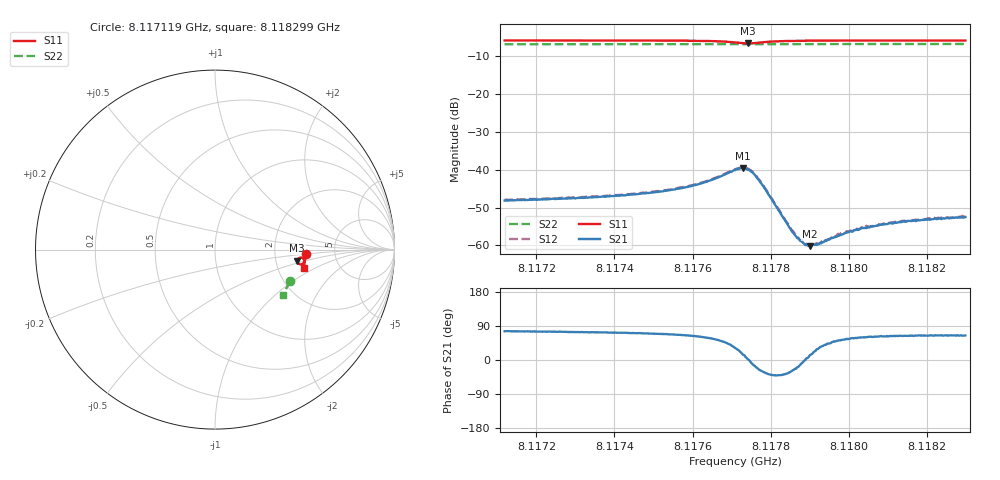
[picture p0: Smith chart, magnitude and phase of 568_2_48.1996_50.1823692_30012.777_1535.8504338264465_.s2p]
#  HZ  S  RI  R  50.00
! Rohde & Schwarz Vector Network Analyzer
! Rohde-Schwarz,ZNB20-2Port,1311601062101988,3.16
! Created: UTC 3/20/2024, 12:01:34 PM
! freq[Hz]  re:S11  im:S11  re:S21  im:S21  re:S12  im:S12  re:S22  im:S22
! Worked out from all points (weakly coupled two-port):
!   401 points, 8.117119 GHz to 8.118299 GHz, reference 50 ohm
!   highest |S21| = -39.55 dB at 8.11773 GHz (marker M1); lowest = -60.2 dB at 8.117901 GHz (marker M2)
!   lowest |S11| = -6.7 dB at 8.117741 GHz (marker M3), VSWR 2.72, Z = 132 - j20.8 ohm
!   |S11| at or under -10 dB: nowhere
!   |S22| runs from -6.9 to -6.8 dB; largest |S21 - S12| = 0.00043
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8.1171186e9  0.506 -0.0246  0.000957 0.0038  0.000981 0.00386  0.4158 -0.1763
8.1173164e9  0.5044 -0.0409  0.00119 0.00409  0.00129 0.00415  0.4107 -0.1892
8.1174256e9  0.503 -0.0503  0.00143 0.00437  0.00152 0.00442  0.4077 -0.1964
8.1175141e9  0.5011 -0.0591  0.00183 0.00478  0.00193 0.00483  0.4053 -0.2019
8.1176174e9  0.4953 -0.0719  0.00306 0.00571  0.00318 0.00583  0.4019 -0.2087
8.1176617e9  0.4884 -0.0788  0.0046 0.00624  0.00471 0.00638  0.4003 -0.2116
8.1177089e9  0.47 -0.0806  0.00834 0.00523  0.00857 0.00538  0.3981 -0.2142
8.1177295e9  0.46 -0.0711  0.0102 0.0025  0.0103 0.00269  0.397 -0.2149
8.1177413e9  0.4583 -0.0619  0.00998 0.00046  0.0103 0.000376  0.3969 -0.2153
8.1177561e9  0.4629 -0.051  0.00871 -0.00206  0.00886 -0.00206  0.3968 -0.2157
8.1177768e9  0.4754 -0.0446  0.00571 -0.00317  0.00587 -0.00331  0.3967 -0.2168
8.1178623e9  0.497 -0.0597  0.00126 -0.00054  0.00128 -0.000609  0.3949 -0.2228
8.1178712e9  0.4974 -0.0613  0.00119 -0.000389  0.00121 -0.000361  0.3947 -0.2235
8.117883e9  0.4979 -0.0633  0.00108 -0.000113  0.0011 -0.000146  0.3943 -0.2243
8.1179007e9  0.4984 -0.0659  0.000955 0.000215  0.00103 0.000184  0.3937 -0.2253
8.1179066e9  0.4988 -0.0668  0.000968 0.00028  0.000938 0.000302  0.3934 -0.2257
8.1179302e9  0.4988 -0.0698  0.00087 0.00062  0.000929 0.000629  0.3926 -0.2274
8.1179892e9  0.499 -0.0766  0.000854 0.00118  0.000861 0.00119  0.3908 -0.2312
8.1180365e9  0.4985 -0.0814  0.00086 0.00147  0.000831 0.00147  0.3893 -0.234
8.1181043e9  0.4977 -0.0876  0.000889 0.00174  0.000914 0.00177  0.387 -0.2383
8.1182224e9  0.496 -0.0976  0.000949 0.00206  0.000977 0.00206  0.3828 -0.2455
8.1182991e9  0.4947 -0.1037  0.00101 0.00214  0.00107 0.00213  0.3802 -0.2502
